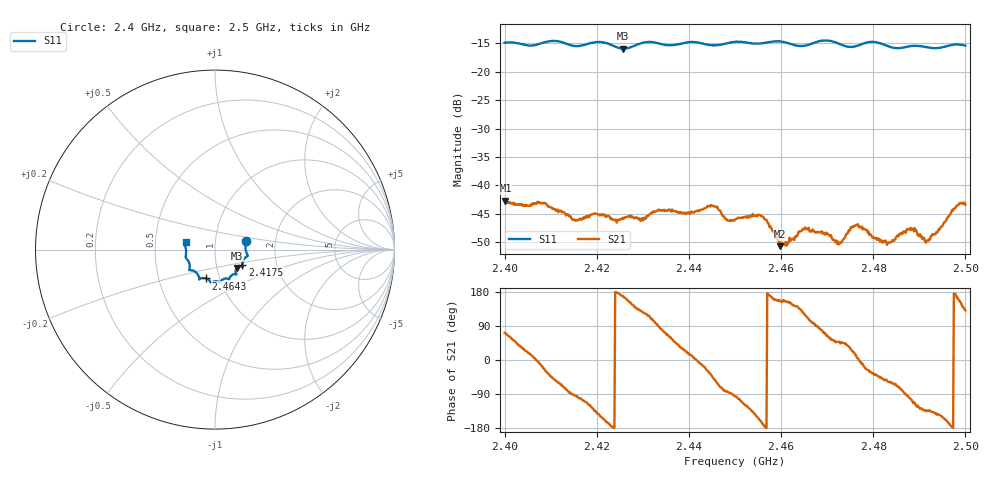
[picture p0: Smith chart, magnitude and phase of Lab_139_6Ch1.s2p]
# Hz S RI R 50
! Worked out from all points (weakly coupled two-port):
!   601 points, 2.4 GHz to 2.5 GHz, reference 50 ohm
!   highest |S21| = -42.70 dB at 2.4002 GHz (marker M1); lowest = -50.7 dB at 2.4597 GHz (marker M2)
!   lowest |S11| = -16.0 dB at 2.4257 GHz (marker M3), VSWR 1.38, Z = 62.5 - j13 ohm
!   |S11| at or under -10 dB: start of sweep to end of sweep
!   S12 and S22 are empty: the file has one direction only
!   S11 on the Smith chart (normalised r, x): 2.4 GHz: 1.41, +0.14; 2.4175 GHz: 1.33, -0.23; 2.4643 GHz: 0.86, -0.29; 2.5 GHz: 0.72, +0.06
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2.4e9  0.1732 0.0489  0.00231 0.00694  0 0  0 0
2.400167e9  0.1739 0.0485  0.00238 0.00693  0 0  0 0
2.4085e9  0.1793 -0.0248  0.00651 -0.00264  0 0  0 0
2.416667e9  0.1526 -0.0739  -0.00114 -0.00483  0 0  0 0
2.4175e9  0.1516 -0.0835  -0.00178 -0.00487  0 0  0 0
2.425667e9  0.1227 -0.1016  -0.0051 0.00101  0 0  0 0
2.433333e9  0.1137 -0.1366  -5.32e-05 0.00605  0 0  0 0
2.439833e9  0.0795 -0.1634  0.00549 0.00188  0 0  0 0
2.445e9  0.0559 -0.1612  0.00485 -0.0045  0 0  0 0
2.45e9  0.0292 -0.181  -0.000536 -0.00498  0 0  0 0
2.455667e9  -0.00357 -0.1774  -0.00513 -0.00159  0 0  0 0
2.459667e9  -0.024 -0.1835  -0.00268 0.00116  0 0  0 0
2.461e9  -0.0267 -0.1788  -0.00286 0.00142  0 0  0 0
2.464333e9  -0.0496 -0.1608  -0.00261 0.00296  0 0  0 0
2.466667e9  -0.076 -0.1593  -0.000588 0.00393  0 0  0 0
2.472667e9  -0.0895 -0.1509  0.00205 0.00229  0 0  0 0
2.4765e9  -0.1216 -0.1172  0.0045 0.000442  0 0  0 0
2.483333e9  -0.1408 -0.09  0.00169 -0.00265  0 0  0 0
2.488e9  -0.1602 -0.05  -0.000821 -0.00413  0 0  0 0
2.491833e9  -0.1616 -0.0272  -0.00224 -0.00236  0 0  0 0
2.497667e9  -0.1704 0.031  -0.00623 0.000612  0 0  0 0
2.5e9  -0.1642 0.0427  -0.00443 0.0051  0 0  0 0
